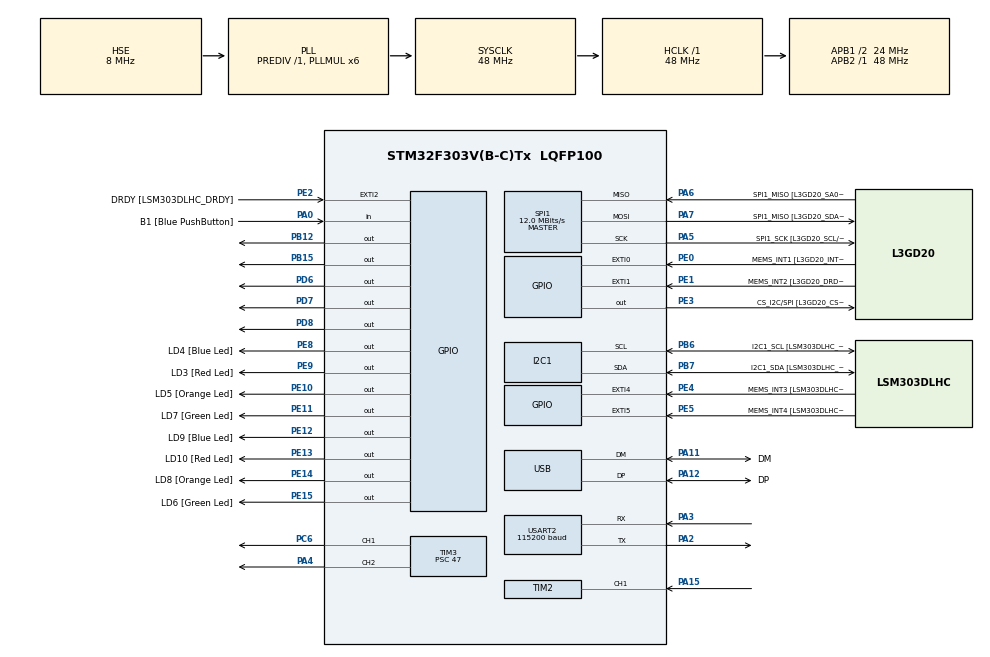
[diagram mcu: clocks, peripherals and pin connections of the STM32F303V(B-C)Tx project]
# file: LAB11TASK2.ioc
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I2C1.Timing=0x00201D2B
I2C1.Timing-I2C=0x2000090E
Mcu.Family=STM32F3
Mcu.Name=STM32F303V(B-C)Tx
Mcu.Package=LQFP100
NVIC.PriorityGroup=NVIC_PRIORITYGROUP_0
NVIC.TIM2_IRQn=true\:0\:0\:false\:false\:true\:true\:true\:true
PA0.GPIO_Label=B1 [Blue PushButton]
PA0.Signal=GPIO_Input
PA11.GPIO_Label=DM
PA11.Mode=Device
PA11.Signal=USB_DM
PA12.GPIO_Label=DP
PA12.Mode=Device
PA12.Signal=USB_DP
PA13.GPIO_Label=SWDIO
PA13.Mode=Serial_Wire
PA13.Signal=SYS_JTMS-SWDIO
PA14.GPIO_Label=SWCLK
PA14.Mode=Serial_Wire
PA14.Signal=SYS_JTCK-SWCLK
PA15.Signal=S_TIM2_CH1_ETR
PA2.Mode=Asynchronous
PA2.Signal=USART2_TX
PA3.Mode=Asynchronous
PA3.Signal=USART2_RX
PA4.Signal=S_TIM3_CH2
PA5.GPIO_Label=SPI1_SCK [L3GD20_SCL/SPC]
PA5.Mode=Full_Duplex_Master
PA5.Signal=SPI1_SCK
PA6.GPIO_Label=SPI1_MISO [L3GD20_SA0/SDO]
PA6.Mode=Full_Duplex_Master
PA6.Signal=SPI1_MISO
PA7.GPIO_Label=SPI1_MISO [L3GD20_SDA/SDI/SDO]
PA7.Mode=Full_Duplex_Master
PA7.Signal=SPI1_MOSI
PB12.Signal=GPIO_Output
PB15.Signal=GPIO_Output
PB3.GPIO_Label=SWO
PB3.Signal=SYS_JTDO-TRACESWO
PB6.GPIO_Label=I2C1_SCL [LSM303DLHC_SCL]
PB6.GPIO_Pu=GPIO_PULLUP
PB6.Mode=I2C
PB6.Signal=I2C1_SCL
PB7.GPIO_Label=I2C1_SDA [LSM303DLHC_SDA]
PB7.GPIO_Pu=GPIO_PULLUP
PB7.Mode=I2C
PB7.Signal=I2C1_SDA
PC14-OSC32_IN.GPIO_Label=OSC32_IN
PC14-OSC32_IN.Signal=RCC_OSC32_IN
PC15-OSC32_OUT.GPIO_Label=OSC32_OUT
PC15-OSC32_OUT.Signal=RCC_OSC32_OUT
PC6.Signal=S_TIM3_CH1
PD6.Signal=GPIO_Output
PD7.Signal=GPIO_Output
PD8.Signal=GPIO_Output
PE0.GPIO_Label=MEMS_INT1 [L3GD20_INT1]
PE0.GPIO_ModeDefaultEXTI=GPIO_MODE_EVT_RISING
PE0.Signal=GPXTI0
PE1.GPIO_Label=MEMS_INT2 [L3GD20_DRDY/INT2]
PE1.GPIO_ModeDefaultEXTI=GPIO_MODE_EVT_RISING
PE1.Signal=GPXTI1
PE10.GPIO_Label=LD5 [Orange Led]
PE10.Signal=GPIO_Output
PE11.GPIO_Label=LD7 [Green Led]
PE11.Signal=GPIO_Output
PE12.GPIO_Label=LD9 [Blue Led]
PE12.Signal=GPIO_Output
PE13.GPIO_Label=LD10 [Red Led]
PE13.Signal=GPIO_Output
PE14.GPIO_Label=LD8 [Orange Led]
PE14.Signal=GPIO_Output
PE15.GPIO_Label=LD6 [Green Led]
PE15.Signal=GPIO_Output
PE2.GPIO_Label=DRDY [LSM303DLHC_DRDY]
PE2.GPIO_ModeDefaultEXTI=GPIO_MODE_EVT_RISING
PE2.Signal=GPXTI2
PE3.GPIO_Label=CS_I2C/SPI [L3GD20_CS_I2C/SPI]
PE3.Signal=GPIO_Output
PE4.GPIO_Label=MEMS_INT3 [LSM303DLHC_INT1]
PE4.GPIO_ModeDefaultEXTI=GPIO_MODE_EVT_RISING
PE4.Signal=GPXTI4
PE5.GPIO_Label=MEMS_INT4 [LSM303DLHC_INT2]
PE5.GPIO_ModeDefaultEXTI=GPIO_MODE_EVT_RISING
PE5.Signal=GPXTI5
PE8.GPIO_Label=LD4 [Blue Led]
PE8.Signal=GPIO_Output
PE9.GPIO_Label=LD3 [Red Led]
PE9.Signal=GPIO_Output
PF0-OSC_IN.GPIO_Label=OSC_IN
PF0-OSC_IN.Mode=HSE-External-Clock-Source
PF0-OSC_IN.Signal=RCC_OSC_IN
PF1-OSC_OUT.GPIO_Label=OSC_OUT
PF1-OSC_OUT.Signal=RCC_OSC_OUT
ProjectManager.HeapSize=0x200
ProjectManager.StackSize=0x400
ProjectManager.TargetToolchain=CMake
RCC.AHBFreq_Value=48000000
RCC.APB1CLKDivider=RCC_HCLK_DIV2
RCC.APB1Freq_Value=24000000
RCC.APB1TimFreq_Value=48000000
RCC.APB2Freq_Value=48000000
RCC.APB2TimFreq_Value=48000000
RCC.CortexFreq_Value=48000000
RCC.HCLKFreq_Value=48000000
RCC.HSE_VALUE=8000000
RCC.HSI_VALUE=8000000
RCC.LSE_VALUE=32768
RCC.PLLMUL=RCC_PLL_MUL6
RCC.SYSCLKFreq_VALUE=48000000
RCC.SYSCLKSourceVirtual=RCC_SYSCLKSOURCE_PLLCLK
RCC.USBFreq_Value=48000000
SH.S_TIM2_CH1_ETR.0=TIM2_CH1,Input_Capture1_from_TI1
SH.S_TIM3_CH1.0=TIM3_CH1,PWM Generation1 CH1
SH.S_TIM3_CH2.0=TIM3_CH2,PWM Generation2 CH2
SPI1.BaudRatePrescaler=SPI_BAUDRATEPRESCALER_4
SPI1.BaudRatePrescaler-Full_Duplex_Master=SPI_BAUDRATEPRESCALER_2
SPI1.CalculateBaudRate=12.0 MBits/s
SPI1.CalculateBaudRate-Full_Duplex_Master=24.0 MBits/s
SPI1.Direction=SPI_DIRECTION_2LINES
SPI1.Mode=SPI_MODE_MASTER
SPI1.Mode-Full_Duplex_Master=SPI_MODE_MASTER
SPI1.VirtualType=VM_MASTER
TIM2.Channel-Input_Capture1_from_TI1=TIM_CHANNEL_1
TIM2.Period=4999
TIM2.Prescaler=71
TIM3.Channel-PWM\ Generation1\ CH1=TIM_CHANNEL_1
TIM3.Channel-PWM\ Generation2\ CH2=TIM_CHANNEL_2
TIM3.Period=999
TIM3.Prescaler=47
USART2.BaudRate=115200
USART2.VirtualMode-Asynchronous=VM_ASYNC
VP_TIM2_VS_ClockSourceINT.Mode=Internal
board=STM32F3DISCOVERY

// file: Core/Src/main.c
/* USER CODE BEGIN Header */
/**
  ******************************************************************************
  * @file           : main.c
  * @brief          : Main program body
  ******************************************************************************
  * @attention
  *
  * Copyright (c) 2026 STMicroelectronics.
  * All rights reserved.
  *
  * This software is licensed under terms that can be found in the LICENSE file
  * in the root directory of this software component.
  * If no LICENSE file comes with this software, it is provided AS-IS.
  *
  ******************************************************************************
  */
/* USER CODE END Header */
#include "main.h"
#include "imu_lsm.h"
#include "gyro.h"
#include "pid.h"
#include "motor.h"

I2C_HandleTypeDef hi2c1;

SPI_HandleTypeDef hspi1;

TIM_HandleTypeDef htim2;
TIM_HandleTypeDef htim3;

UART_HandleTypeDef huart2;

PCD_HandleTypeDef hpcd_USB_FS;

/* USER CODE BEGIN PV */

extern TIM_HandleTypeDef htim2;
extern TIM_HandleTypeDef htim3;

extern UART_HandleTypeDef huart2;

volatile uint8_t imu_flag = 0;
float angle = 0;   //initializing tilt angle
float dt = 0.005f;   //sampling time for 100 Hz control loop

/* USER CODE END PV */

void SystemClock_Config(void);
static void MX_GPIO_Init(void);
static void MX_I2C1_Init(void);
static void MX_SPI1_Init(void);
static void MX_TIM2_Init(void);
static void MX_TIM3_Init(void);
static void MX_USART2_UART_Init(void);
static void MX_USB_PCD_Init(void);

/* USER CODE BEGIN 0 */
// Execute control loop only for TIM2 interrupt (100 Hz)
void HAL_TIM_PeriodElapsedCallback(TIM_HandleTypeDef *htim)
{
    if(htim->Instance == TIM2)
    {
        imu_flag = 1;
        // Read accelerometer data from LSM IMU
        Read_LSM();
        // Read raw gyroscope Y-axis data (high + low bytes)
        int16_t gy_raw = (int16_t)((gyro_read(0x2B) << 8) | gyro_read(0x2A));

        // Convert raw gyro data to degrees/sec and remove offset
        float gy = (gy_raw * 0.00875f) - lsmOffset.gyroY;

       // Complementary filter:
       // Gyroscope provides short-term accuracy but drifts over time.
       // Accelerometer provides long-term stability but is noisy.
       // This filter blends both to get a stable angle estimate.

       // Combines gyro integration + accelerometer
        angle = 0.98f * (angle + gy * dt) + 0.02f * roll_deg;

        // Safety check: if robot tilts too much, stop motors
        if(fabs(angle) > 90.0f)
        {
            integral = 0;     // Reset PID integral term
            control = 0;      // Stop control signal

            // Set motor PWM to zero (stop motors)
            __HAL_TIM_SET_COMPARE(&htim3, TIM_CHANNEL_1, 0);
            __HAL_TIM_SET_COMPARE(&htim3, TIM_CHANNEL_2, 0);

            return;
        }

        // Compute error between current angle and desired upright position
        error = angle - setpoint;

        // LED indicator: ON when near upright (within ±1 degree)
        if(fabs(error) < 1.0f)
        {
            HAL_GPIO_WritePin(GPIOE, LD4_Pin, GPIO_PIN_SET);
        }
        else
        {
            HAL_GPIO_WritePin(GPIOE, LD4_Pin, GPIO_PIN_RESET);
        }

        // Compute PID control output based on current angle
        float control = PID_Compute(angle, dt);

        // Send control signal to motors
        Motor_Set(control);
    }
}
/* USER CODE END 0 */

int main(void)
{

  /* MCU Configuration--------------------------------------------------------*/

  /* Reset of all peripherals, Initializes the Flash interface and the Systick. */
   HAL_Init();

  /* Configure the system clock */
  SystemClock_Config();

  /* Initialize all configured peripherals */
  MX_GPIO_Init();
  MX_I2C1_Init();
  MX_SPI1_Init();
  MX_TIM2_Init();
  MX_TIM3_Init();
  MX_USART2_UART_Init();
  MX_USB_PCD_Init();
  /* USER CODE BEGIN 2 */

  Init_LSM();    // Accelerometer
  gyro_init();   // Gyroscope
  OffsetLSM();     // Calibrate IMU to remove bias

  // Start timer interrupt, drives control loop (100 Hz)
  HAL_TIM_Base_Start_IT(&htim2);

  // Start PWM signals for motor control
  HAL_TIM_PWM_Start(&htim3, TIM_CHANNEL_1);
  HAL_TIM_PWM_Start(&htim3, TIM_CHANNEL_2);

  /* USER CODE END 2 */

  /* Infinite loop */
  while (1)
  {

  }
}

void SystemClock_Config(void)
{
  RCC_OscInitTypeDef RCC_OscInitStruct = {0};
  RCC_ClkInitTypeDef RCC_ClkInitStruct = {0};
  RCC_PeriphCLKInitTypeDef PeriphClkInit = {0};

  /** Initializes the RCC Oscillators according to the specified parameters
  * in the RCC_OscInitTypeDef structure.
  */
  RCC_OscInitStruct.OscillatorType = RCC_OSCILLATORTYPE_HSI|RCC_OSCILLATORTYPE_HSE;
  RCC_OscInitStruct.HSEState = RCC_HSE_BYPASS;
  RCC_OscInitStruct.HSEPredivValue = RCC_HSE_PREDIV_DIV1;
  RCC_OscInitStruct.HSIState = RCC_HSI_ON;
  RCC_OscInitStruct.HSICalibrationValue = RCC_HSICALIBRATION_DEFAULT;
  RCC_OscInitStruct.PLL.PLLState = RCC_PLL_ON;
  RCC_OscInitStruct.PLL.PLLSource = RCC_PLLSOURCE_HSE;
  RCC_OscInitStruct.PLL.PLLMUL = RCC_PLL_MUL6;
  if (HAL_RCC_OscConfig(&RCC_OscInitStruct) != HAL_OK)
  {
    Error_Handler();
  }

  /** Initializes the CPU, AHB and APB buses clocks
  */
  RCC_ClkInitStruct.ClockType = RCC_CLOCKTYPE_HCLK|RCC_CLOCKTYPE_SYSCLK
                              |RCC_CLOCKTYPE_PCLK1|RCC_CLOCKTYPE_PCLK2;
  RCC_ClkInitStruct.SYSCLKSource = RCC_SYSCLKSOURCE_PLLCLK;
  RCC_ClkInitStruct.AHBCLKDivider = RCC_SYSCLK_DIV1;
  RCC_ClkInitStruct.APB1CLKDivider = RCC_HCLK_DIV2;
  RCC_ClkInitStruct.APB2CLKDivider = RCC_HCLK_DIV1;

  if (HAL_RCC_ClockConfig(&RCC_ClkInitStruct, FLASH_LATENCY_1) != HAL_OK)
  {
    Error_Handler();
  }
  PeriphClkInit.PeriphClockSelection = RCC_PERIPHCLK_USB|RCC_PERIPHCLK_USART2
                              |RCC_PERIPHCLK_I2C1;
  PeriphClkInit.Usart2ClockSelection = RCC_USART2CLKSOURCE_PCLK1;
  PeriphClkInit.I2c1ClockSelection = RCC_I2C1CLKSOURCE_HSI;
  PeriphClkInit.USBClockSelection = RCC_USBCLKSOURCE_PLL;
  if (HAL_RCCEx_PeriphCLKConfig(&PeriphClkInit) != HAL_OK)
  {
    Error_Handler();
  }
}

static void MX_I2C1_Init(void)
{

  hi2c1.Instance = I2C1;
  hi2c1.Init.Timing = 0x00201D2B;
  hi2c1.Init.OwnAddress1 = 0;
  hi2c1.Init.AddressingMode = I2C_ADDRESSINGMODE_7BIT;
  hi2c1.Init.DualAddressMode = I2C_DUALADDRESS_DISABLE;
  hi2c1.Init.OwnAddress2 = 0;
  hi2c1.Init.OwnAddress2Masks = I2C_OA2_NOMASK;
  hi2c1.Init.GeneralCallMode = I2C_GENERALCALL_DISABLE;
  hi2c1.Init.NoStretchMode = I2C_NOSTRETCH_DISABLE;
  if (HAL_I2C_Init(&hi2c1) != HAL_OK)
  {
    Error_Handler();
  }

  /** Configure Analogue filter
  */
  if (HAL_I2CEx_ConfigAnalogFilter(&hi2c1, I2C_ANALOGFILTER_ENABLE) != HAL_OK)
  {
    Error_Handler();
  }

  /** Configure Digital filter
  */
  if (HAL_I2CEx_ConfigDigitalFilter(&hi2c1, 0) != HAL_OK)
  {
    Error_Handler();
  }

}

static void MX_SPI1_Init(void)
{

  /* SPI1 parameter configuration*/
  hspi1.Instance = SPI1;
  hspi1.Init.Mode = SPI_MODE_MASTER;
  hspi1.Init.Direction = SPI_DIRECTION_2LINES;
  hspi1.Init.DataSize = SPI_DATASIZE_8BIT;
  hspi1.Init.CLKPolarity = SPI_POLARITY_LOW;
  hspi1.Init.CLKPhase = SPI_PHASE_1EDGE;
  hspi1.Init.NSS = SPI_NSS_SOFT;
  hspi1.Init.BaudRatePrescaler = SPI_BAUDRATEPRESCALER_4;
  hspi1.Init.FirstBit = SPI_FIRSTBIT_MSB;
  hspi1.Init.TIMode = SPI_TIMODE_DISABLE;
  hspi1.Init.CRCCalculation = SPI_CRCCALCULATION_DISABLE;
  hspi1.Init.CRCPolynomial = 7;
  hspi1.Init.CRCLength = SPI_CRC_LENGTH_DATASIZE;
  hspi1.Init.NSSPMode = SPI_NSS_PULSE_ENABLE;
  if (HAL_SPI_Init(&hspi1) != HAL_OK)
  {
    Error_Handler();
  }

}

static void MX_TIM2_Init(void)
{

  TIM_ClockConfigTypeDef sClockSourceConfig = {0};
  TIM_MasterConfigTypeDef sMasterConfig = {0};
  TIM_IC_InitTypeDef sConfigIC = {0};

  htim2.Instance = TIM2;
  htim2.Init.Prescaler = 71;
  htim2.Init.CounterMode = TIM_COUNTERMODE_UP;
  htim2.Init.Period = 4999;
  htim2.Init.ClockDivision = TIM_CLOCKDIVISION_DIV1;
  htim2.Init.AutoReloadPreload = TIM_AUTORELOAD_PRELOAD_DISABLE;
  if (HAL_TIM_Base_Init(&htim2) != HAL_OK)
  {
    Error_Handler();
  }
  sClockSourceConfig.ClockSource = TIM_CLOCKSOURCE_INTERNAL;
  if (HAL_TIM_ConfigClockSource(&htim2, &sClockSourceConfig) != HAL_OK)
  {
    Error_Handler();
  }
  if (HAL_TIM_IC_Init(&htim2) != HAL_OK)
  {
    Error_Handler();
  }
  sMasterConfig.MasterOutputTrigger = TIM_TRGO_RESET;
  sMasterConfig.MasterSlaveMode = TIM_MASTERSLAVEMODE_DISABLE;
  if (HAL_TIMEx_MasterConfigSynchronization(&htim2, &sMasterConfig) != HAL_OK)
  {
    Error_Handler();
  }
  sConfigIC.ICPolarity = TIM_INPUTCHANNELPOLARITY_RISING;
  sConfigIC.ICSelection = TIM_ICSELECTION_DIRECTTI;
  sConfigIC.ICPrescaler = TIM_ICPSC_DIV1;
  sConfigIC.ICFilter = 0;
  if (HAL_TIM_IC_ConfigChannel(&htim2, &sConfigIC, TIM_CHANNEL_1) != HAL_OK)
  {
    Error_Handler();
  }

}

static void MX_TIM3_Init(void)
{

  TIM_MasterConfigTypeDef sMasterConfig = {0};
  TIM_OC_InitTypeDef sConfigOC = {0};

  htim3.Instance = TIM3;
  htim3.Init.Prescaler = 47;
  htim3.Init.CounterMode = TIM_COUNTERMODE_UP;
  htim3.Init.Period = 999;
  htim3.Init.ClockDivision = TIM_CLOCKDIVISION_DIV1;
  htim3.Init.AutoReloadPreload = TIM_AUTORELOAD_PRELOAD_DISABLE;
  if (HAL_TIM_PWM_Init(&htim3) != HAL_OK)
  {
    Error_Handler();
  }
  sMasterConfig.MasterOutputTrigger = TIM_TRGO_RESET;
  sMasterConfig.MasterSlaveMode = TIM_MASTERSLAVEMODE_DISABLE;
  if (HAL_TIMEx_MasterConfigSynchronization(&htim3, &sMasterConfig) != HAL_OK)
  {
    Error_Handler();
  }
  sConfigOC.OCMode = TIM_OCMODE_PWM1;
  sConfigOC.Pulse = 0;
  sConfigOC.OCPolarity = TIM_OCPOLARITY_HIGH;
  sConfigOC.OCFastMode = TIM_OCFAST_DISABLE;
  if (HAL_TIM_PWM_ConfigChannel(&htim3, &sConfigOC, TIM_CHANNEL_1) != HAL_OK)
  {
    Error_Handler();
  }
  if (HAL_TIM_PWM_ConfigChannel(&htim3, &sConfigOC, TIM_CHANNEL_2) != HAL_OK)
  {
    Error_Handler();
  }
  HAL_TIM_MspPostInit(&htim3);

}

static void MX_USART2_UART_Init(void)
{

  huart2.Instance = USART2;
  huart2.Init.BaudRate = 115200;
  huart2.Init.WordLength = UART_WORDLENGTH_8B;
  huart2.Init.StopBits = UART_STOPBITS_1;
  huart2.Init.Parity = UART_PARITY_NONE;
  huart2.Init.Mode = UART_MODE_TX_RX;
  huart2.Init.HwFlowCtl = UART_HWCONTROL_NONE;
  huart2.Init.OverSampling = UART_OVERSAMPLING_16;
  huart2.Init.OneBitSampling = UART_ONE_BIT_SAMPLE_DISABLE;
  huart2.AdvancedInit.AdvFeatureInit = UART_ADVFEATURE_NO_INIT;
  if (HAL_UART_Init(&huart2) != HAL_OK)
  {
    Error_Handler();
  }

}

static void MX_USB_PCD_Init(void)
{

  hpcd_USB_FS.Instance = USB;
  hpcd_USB_FS.Init.dev_endpoints = 8;
  hpcd_USB_FS.Init.speed = PCD_SPEED_FULL;
  hpcd_USB_FS.Init.phy_itface = PCD_PHY_EMBEDDED;
  hpcd_USB_FS.Init.low_power_enable = DISABLE;
  hpcd_USB_FS.Init.battery_charging_enable = DISABLE;
  if (HAL_PCD_Init(&hpcd_USB_FS) != HAL_OK)
  {
    Error_Handler();
  }

}

static void MX_GPIO_Init(void)
{
  GPIO_InitTypeDef GPIO_InitStruct = {0};

  /* GPIO Ports Clock Enable */
  __HAL_RCC_GPIOE_CLK_ENABLE();
  __HAL_RCC_GPIOC_CLK_ENABLE();
  __HAL_RCC_GPIOF_CLK_ENABLE();
  __HAL_RCC_GPIOA_CLK_ENABLE();
  __HAL_RCC_GPIOB_CLK_ENABLE();
  __HAL_RCC_GPIOD_CLK_ENABLE();

  /*Configure GPIO pin Output Level */
  HAL_GPIO_WritePin(GPIOE, CS_I2C_SPI_Pin|LD4_Pin|LD3_Pin|LD5_Pin
                          |LD7_Pin|LD9_Pin|LD10_Pin|LD8_Pin
                          |LD6_Pin, GPIO_PIN_RESET);

  /*Configure GPIO pin Output Level */
  HAL_GPIO_WritePin(GPIOB, GPIO_PIN_12|GPIO_PIN_15, GPIO_PIN_RESET);

  /*Configure GPIO pin Output Level */
  HAL_GPIO_WritePin(GPIOD, GPIO_PIN_8|GPIO_PIN_6|GPIO_PIN_7, GPIO_PIN_RESET);

  /*Configure GPIO pins : DRDY_Pin MEMS_INT3_Pin MEMS_INT4_Pin MEMS_INT1_Pin
                           MEMS_INT2_Pin */
  GPIO_InitStruct.Pin = DRDY_Pin|MEMS_INT3_Pin|MEMS_INT4_Pin|MEMS_INT1_Pin
                          |MEMS_INT2_Pin;
  GPIO_InitStruct.Mode = GPIO_MODE_EVT_RISING;
  GPIO_InitStruct.Pull = GPIO_NOPULL;
  HAL_GPIO_Init(GPIOE, &GPIO_InitStruct);

  /*Configure GPIO pins : CS_I2C_SPI_Pin LD4_Pin LD3_Pin LD5_Pin
                           LD7_Pin LD9_Pin LD10_Pin LD8_Pin
                           LD6_Pin */
  GPIO_InitStruct.Pin = CS_I2C_SPI_Pin|LD4_Pin|LD3_Pin|LD5_Pin
                          |LD7_Pin|LD9_Pin|LD10_Pin|LD8_Pin
                          |LD6_Pin;
  GPIO_InitStruct.Mode = GPIO_MODE_OUTPUT_PP;
  GPIO_InitStruct.Pull = GPIO_NOPULL;
  GPIO_InitStruct.Speed = GPIO_SPEED_FREQ_LOW;
  HAL_GPIO_Init(GPIOE, &GPIO_InitStruct);

  /*Configure GPIO pin : B1_Pin */
  GPIO_InitStruct.Pin = B1_Pin;
  GPIO_InitStruct.Mode = GPIO_MODE_INPUT;
  GPIO_InitStruct.Pull = GPIO_NOPULL;
  HAL_GPIO_Init(B1_GPIO_Port, &GPIO_InitStruct);

  /*Configure GPIO pins : PB12 PB15 */
  GPIO_InitStruct.Pin = GPIO_PIN_12|GPIO_PIN_15;
  GPIO_InitStruct.Mode = GPIO_MODE_OUTPUT_PP;
  GPIO_InitStruct.Pull = GPIO_NOPULL;
  GPIO_InitStruct.Speed = GPIO_SPEED_FREQ_LOW;
  HAL_GPIO_Init(GPIOB, &GPIO_InitStruct);

  /*Configure GPIO pins : PD8 PD6 PD7 */
  GPIO_InitStruct.Pin = GPIO_PIN_8|GPIO_PIN_6|GPIO_PIN_7;
  GPIO_InitStruct.Mode = GPIO_MODE_OUTPUT_PP;
  GPIO_InitStruct.Pull = GPIO_NOPULL;
  GPIO_InitStruct.Speed = GPIO_SPEED_FREQ_LOW;
  HAL_GPIO_Init(GPIOD, &GPIO_InitStruct);

}

void Error_Handler(void)
{
  __disable_irq();
  while (1)
  {
  }
}
